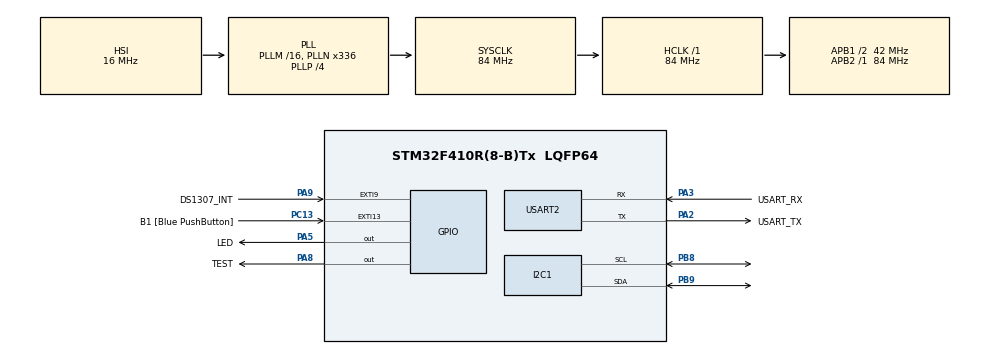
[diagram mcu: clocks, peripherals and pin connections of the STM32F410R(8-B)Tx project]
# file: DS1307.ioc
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Dma.I2C1_RX.0.Direction=DMA_PERIPH_TO_MEMORY
Dma.I2C1_RX.0.FIFOMode=DMA_FIFOMODE_DISABLE
Dma.I2C1_RX.0.Instance=DMA1_Stream0
Dma.I2C1_RX.0.MemDataAlignment=DMA_MDATAALIGN_BYTE
Dma.I2C1_RX.0.MemInc=DMA_MINC_ENABLE
Dma.I2C1_RX.0.Mode=DMA_NORMAL
Dma.I2C1_RX.0.PeriphDataAlignment=DMA_PDATAALIGN_BYTE
Dma.I2C1_RX.0.PeriphInc=DMA_PINC_DISABLE
Dma.I2C1_RX.0.Priority=DMA_PRIORITY_LOW
Dma.I2C1_TX.1.Direction=DMA_MEMORY_TO_PERIPH
Dma.I2C1_TX.1.FIFOMode=DMA_FIFOMODE_DISABLE
Dma.I2C1_TX.1.Instance=DMA1_Stream1
Dma.I2C1_TX.1.MemDataAlignment=DMA_MDATAALIGN_BYTE
Dma.I2C1_TX.1.MemInc=DMA_MINC_ENABLE
Dma.I2C1_TX.1.Mode=DMA_NORMAL
Dma.I2C1_TX.1.PeriphDataAlignment=DMA_PDATAALIGN_BYTE
Dma.I2C1_TX.1.PeriphInc=DMA_PINC_DISABLE
Dma.I2C1_TX.1.Priority=DMA_PRIORITY_LOW
Dma.Request0=I2C1_RX
Dma.Request1=I2C1_TX
I2C1.I2C_Mode=I2C_Standard
Mcu.Family=STM32F4
Mcu.Name=STM32F410R(8-B)Tx
Mcu.Package=LQFP64
NVIC.DMA1_Stream0_IRQn=true\:0\:0\:false\:false\:true\:false\:true
NVIC.DMA1_Stream1_IRQn=true\:0\:0\:false\:false\:true\:false\:true
NVIC.EXTI9_5_IRQn=true\:0\:0\:false\:false\:true\:true\:true
NVIC.PriorityGroup=NVIC_PRIORITYGROUP_0
PA13.GPIO_Label=TMS
PA13.Mode=Serial_Wire
PA13.Signal=SYS_JTMS-SWDIO
PA14.GPIO_Label=TCK
PA14.Mode=Serial_Wire
PA14.Signal=SYS_JTCK-SWCLK
PA2.GPIO_Label=USART_TX
PA2.Mode=Asynchronous
PA2.Signal=USART2_TX
PA3.GPIO_Label=USART_RX
PA3.Mode=Asynchronous
PA3.Signal=USART2_RX
PA5.GPIO_Label=LED
PA5.Signal=GPIO_Output
PA8.GPIO_Label=TEST
PA8.Signal=GPIO_Output
PA9.GPIO_Label=DS1307_INT
PA9.GPIO_ModeDefaultEXTI=GPIO_MODE_IT_RISING
PA9.Signal=GPXTI9
PB3.GPIO_Label=SWO
PB3.Signal=SYS_JTDO-SWO
PB8.Mode=I2C
PB8.Signal=I2C1_SCL
PB9.Mode=I2C
PB9.Signal=I2C1_SDA
PC13-ANTI_TAMP.GPIO_Label=B1 [Blue PushButton]
PC13-ANTI_TAMP.GPIO_ModeDefaultEXTI=GPIO_MODE_IT_FALLING
PC13-ANTI_TAMP.Signal=GPXTI13
PC14-OSC32_IN.Mode=LSE-External-Oscillator
PC14-OSC32_IN.Signal=RCC_OSC32_IN
PC15-OSC32_OUT.Mode=LSE-External-Oscillator
PC15-OSC32_OUT.Signal=RCC_OSC32_OUT
PH0\ -\ OSC_IN.Mode=HSE-External-Clock-Source
PH0\ -\ OSC_IN.Signal=RCC_OSC_IN
PH1\ -\ OSC_OUT.Mode=HSE-External-Clock-Source
PH1\ -\ OSC_OUT.Signal=RCC_OSC_OUT
ProjectManager.HeapSize=0x200
ProjectManager.StackSize=0x400
ProjectManager.TargetToolchain=STM32CubeIDE
RCC.48MHZClocksFreq_Value=84000000
RCC.AHBFreq_Value=84000000
RCC.APB1CLKDivider=RCC_HCLK_DIV2
RCC.APB1Freq_Value=42000000
RCC.APB1TimFreq_Value=84000000
RCC.APB2Freq_Value=84000000
RCC.APB2TimFreq_Value=84000000
RCC.CortexFreq_Value=84000000
RCC.FLatency-AdvancedSettings=FLASH_LATENCY_2
RCC.HCLKFreq_Value=84000000
RCC.HSE_VALUE=8000000
RCC.HSI_VALUE=16000000
RCC.PLLN=336
RCC.PLLP=RCC_PLLP_DIV4
RCC.SYSCLKFreq_VALUE=84000000
RCC.SYSCLKSource=RCC_SYSCLKSOURCE_PLLCLK
RCC.VCOOutputFreq_Value=336000000
USART2.VirtualMode=VM_ASYNC
board=NUCLEO-F410RB

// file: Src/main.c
/* USER CODE BEGIN Header */
/**
  ******************************************************************************
  * @file           : main.c
  * @brief          : Main program body
  ******************************************************************************
  * @attention
  *
  * <h2><center>&copy; Copyright (c) 2019 STMicroelectronics.
  * All rights reserved.</center></h2>
  *
  * This software component is licensed by ST under BSD 3-Clause license,
  * the "License"; You may not use this file except in compliance with the
  * License. You may obtain a copy of the License at:
  *                        opensource.org/licenses/BSD-3-Clause
  *
  ******************************************************************************
  *
  *  Created on: 4.09.2019
  *      Author: Mateusz Salamon
  *		Contact: mateusz@msalamon.pl
  *
  *      Website: https://msalamon.pl/dalsze-zmagania-z-rtc-ds1307-i-pcf8563-na-stm32/
  *      GitHub: https://github.com/lamik/DS1307_RTC_STM32_HAL
  */
/* USER CODE END Header */

#include "main.h"
#include "dma.h"
#include "i2c.h"
#include "usart.h"
#include "gpio.h"

/* USER CODE BEGIN Includes */
#include "DS1307.h"
#include "stdio.h"
/* USER CODE END Includes */

/* USER CODE BEGIN PV */
RTCDateTime r;		// Date and Time variable
uint8_t Message[32]; // UART message
uint8_t MessageSize;
/* USER CODE END PV */

void SystemClock_Config(void);

int main(void)
{

  /* MCU Configuration--------------------------------------------------------*/

  /* Reset of all peripherals, Initializes the Flash interface and the Systick. */
  HAL_Init();

  /* Configure the system clock */
  SystemClock_Config();

  /* Initialize all configured peripherals */
  MX_GPIO_Init();
  MX_DMA_Init();
  MX_USART2_UART_Init();
  MX_I2C1_Init();
  /* USER CODE BEGIN 2 */
  DS1307_Init(&hi2c1);

  uint32_t TimerUART = HAL_GetTick();
  /* USER CODE END 2 */

  /* Infinite loop */
  /* USER CODE BEGIN WHILE */
  while (1)
  {
	  if((HAL_GetTick() - TimerUART) > 1000)
	  {
		  MessageSize = sprintf(Message, "%02d:%02d:%02d\n\r", r.Hour, r.Minute, r.Second);
		  HAL_UART_Transmit(&huart2, Message, MessageSize, 1000);
		  TimerUART = HAL_GetTick();
	  }
    /* USER CODE END WHILE */

  }
}

void SystemClock_Config(void)
{
  RCC_OscInitTypeDef RCC_OscInitStruct = {0};
  RCC_ClkInitTypeDef RCC_ClkInitStruct = {0};

  /** Configure the main internal regulator output voltage
  */
  __HAL_RCC_PWR_CLK_ENABLE();
  __HAL_PWR_VOLTAGESCALING_CONFIG(PWR_REGULATOR_VOLTAGE_SCALE1);
  /** Initializes the CPU, AHB and APB busses clocks
  */
  RCC_OscInitStruct.OscillatorType = RCC_OSCILLATORTYPE_HSI;
  RCC_OscInitStruct.HSIState = RCC_HSI_ON;
  RCC_OscInitStruct.HSICalibrationValue = RCC_HSICALIBRATION_DEFAULT;
  RCC_OscInitStruct.PLL.PLLState = RCC_PLL_ON;
  RCC_OscInitStruct.PLL.PLLSource = RCC_PLLSOURCE_HSI;
  RCC_OscInitStruct.PLL.PLLM = 16;
  RCC_OscInitStruct.PLL.PLLN = 336;
  RCC_OscInitStruct.PLL.PLLP = RCC_PLLP_DIV4;
  RCC_OscInitStruct.PLL.PLLQ = 4;
  RCC_OscInitStruct.PLL.PLLR = 2;
  if (HAL_RCC_OscConfig(&RCC_OscInitStruct) != HAL_OK)
  {
    Error_Handler();
  }
  /** Initializes the CPU, AHB and APB busses clocks
  */
  RCC_ClkInitStruct.ClockType = RCC_CLOCKTYPE_HCLK|RCC_CLOCKTYPE_SYSCLK
                              |RCC_CLOCKTYPE_PCLK1|RCC_CLOCKTYPE_PCLK2;
  RCC_ClkInitStruct.SYSCLKSource = RCC_SYSCLKSOURCE_PLLCLK;
  RCC_ClkInitStruct.AHBCLKDivider = RCC_SYSCLK_DIV1;
  RCC_ClkInitStruct.APB1CLKDivider = RCC_HCLK_DIV2;
  RCC_ClkInitStruct.APB2CLKDivider = RCC_HCLK_DIV1;

  if (HAL_RCC_ClockConfig(&RCC_ClkInitStruct, FLASH_LATENCY_2) != HAL_OK)
  {
    Error_Handler();
  }
}

/* USER CODE BEGIN 4 */
#ifdef DS1307_USE_DMA
void HAL_GPIO_EXTI_Callback(uint16_t GPIO_Pin)
{
	if(GPIO_Pin == DS1307_INT_Pin)
	{
		DS1307_ReceiveDateTimeDMA();
	}
}

void HAL_I2C_MemRxCpltCallback(I2C_HandleTypeDef *hi2c)
{
	DS1307_CalculateDateTime(&r);
}
#else
void HAL_GPIO_EXTI_Callback(uint16_t GPIO_Pin)
{
	if(GPIO_Pin == DS1307_INT_Pin)
	{
		DS1307_GetDateTime(&r);
	}
}
#endif
/* USER CODE END 4 */

void Error_Handler(void)
{
}

/************************ (C) COPYRIGHT STMicroelectronics *****END OF FILE****/
